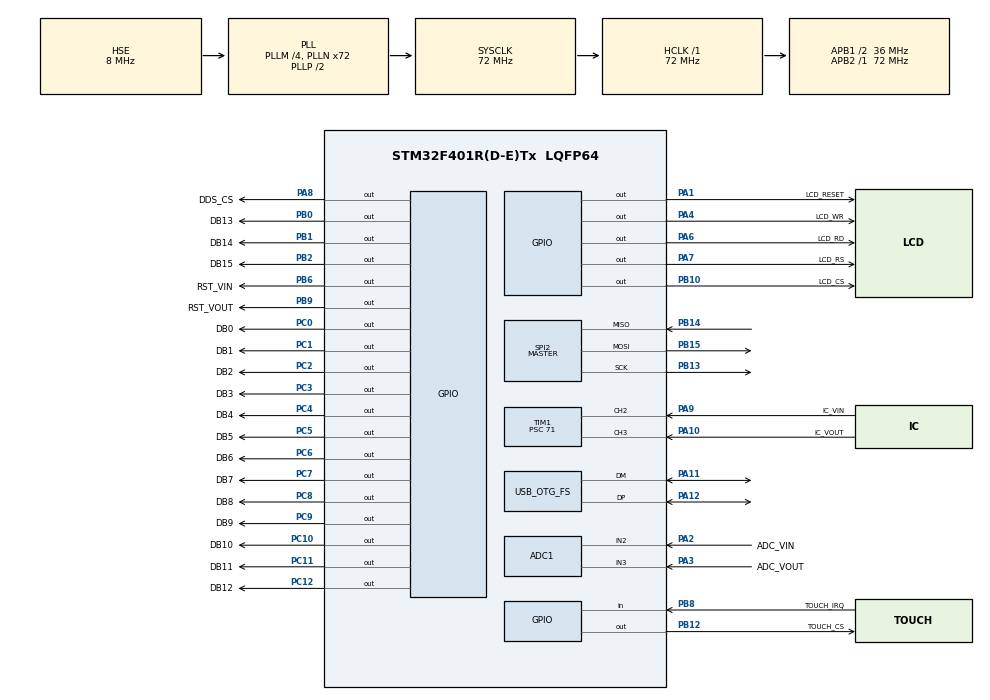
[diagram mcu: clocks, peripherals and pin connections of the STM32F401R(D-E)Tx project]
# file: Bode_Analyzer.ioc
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ADC1.Channel-0\#ChannelRegularConversion=ADC_CHANNEL_2
ADC1.Channel-1\#ChannelRegularConversion=ADC_CHANNEL_3
ADC1.ClockPrescaler=ADC_CLOCK_SYNC_PCLK_DIV4
ADC1.ContinuousConvMode=ENABLE
ADC1.DMAContinuousRequests=ENABLE
ADC1.EOCSelection=ADC_EOC_SEQ_CONV
ADC1.NbrOfConversion=2
ADC1.NbrOfConversionFlag=1
ADC1.Rank-0\#ChannelRegularConversion=1
ADC1.Rank-1\#ChannelRegularConversion=2
ADC1.SamplingTime-0\#ChannelRegularConversion=ADC_SAMPLETIME_480CYCLES
ADC1.SamplingTime-1\#ChannelRegularConversion=ADC_SAMPLETIME_480CYCLES
ADC1.master=1
Dma.ADC1.0.Direction=DMA_PERIPH_TO_MEMORY
Dma.ADC1.0.FIFOMode=DMA_FIFOMODE_DISABLE
Dma.ADC1.0.Instance=DMA2_Stream0
Dma.ADC1.0.MemDataAlignment=DMA_MDATAALIGN_WORD
Dma.ADC1.0.MemInc=DMA_MINC_ENABLE
Dma.ADC1.0.Mode=DMA_CIRCULAR
Dma.ADC1.0.PeriphDataAlignment=DMA_PDATAALIGN_WORD
Dma.ADC1.0.PeriphInc=DMA_PINC_DISABLE
Dma.ADC1.0.Priority=DMA_PRIORITY_LOW
Dma.Request0=ADC1
FREERTOS.Tasks01=defaultTask,0,2000,StartDefaultTask,Default,NULL,Dynamic,NULL,NULL
FREERTOS.configTOTAL_HEAP_SIZE=15000
Mcu.Family=STM32F4
Mcu.Name=STM32F401R(D-E)Tx
Mcu.Package=LQFP64
NVIC.ADC_IRQn=true\:7\:0\:true\:false\:true\:true\:true\:true\:true
NVIC.DMA2_Stream0_IRQn=true\:5\:0\:false\:false\:true\:true\:false\:true\:true
NVIC.OTG_FS_IRQn=true\:5\:0\:false\:false\:true\:true\:false\:true\:true
NVIC.PriorityGroup=NVIC_PRIORITYGROUP_4
NVIC.TIM1_CC_IRQn=true\:5\:0\:true\:false\:true\:true\:true\:true\:true
NVIC.TIM2_IRQn=true\:7\:0\:true\:false\:true\:true\:true\:true\:true
NVIC.TIM4_IRQn=true\:4\:0\:true\:false\:true\:false\:false\:true\:true
NVIC.TimeBase=TIM4_IRQn
NVIC.TimeBaseIP=TIM4
PA1.GPIO_Label=LCD_RESET
PA1.Signal=GPIO_Output
PA10.GPIO_Label=IC_VOUT
PA10.Signal=S_TIM1_CH3
PA11.Mode=Device_Only
PA11.Signal=USB_OTG_FS_DM
PA12.Mode=Device_Only
PA12.Signal=USB_OTG_FS_DP
PA13.GPIO_Label=TMS
PA13.Mode=Serial_Wire
PA13.Signal=SYS_JTMS-SWDIO
PA14.GPIO_Label=TCK
PA14.Mode=Serial_Wire
PA14.Signal=SYS_JTCK-SWCLK
PA2.GPIO_Label=ADC_VIN
PA2.Signal=ADCx_IN2
PA3.GPIO_Label=ADC_VOUT
PA3.Signal=ADCx_IN3
PA4.GPIO_Label=LCD_WR
PA4.Signal=GPIO_Output
PA6.GPIO_Label=LCD_RD
PA6.Signal=GPIO_Output
PA7.GPIO_Label=LCD_RS
PA7.Signal=GPIO_Output
PA8.GPIO_Label=DDS_CS
PA8.PinState=GPIO_PIN_SET
PA8.Signal=GPIO_Output
PA9.GPIO_Label=IC_VIN
PA9.Signal=S_TIM1_CH2
PB0.GPIO_Label=DB13
PB0.Signal=GPIO_Output
PB1.GPIO_Label=DB14
PB1.Signal=GPIO_Output
PB10.GPIO_Label=LCD_CS
PB10.PinState=GPIO_PIN_SET
PB10.Signal=GPIO_Output
PB12.GPIO_Label=TOUCH_CS
PB12.PinState=GPIO_PIN_SET
PB12.Signal=GPIO_Output
PB13.Mode=Full_Duplex_Master
PB13.Signal=SPI2_SCK
PB14.Mode=Full_Duplex_Master
PB14.Signal=SPI2_MISO
PB15.Mode=Full_Duplex_Master
PB15.Signal=SPI2_MOSI
PB2.GPIO_Label=DB15
PB2.Signal=GPIO_Output
PB3.Signal=SYS_JTDO-SWO
PB6.GPIO_Label=RST_VIN
PB6.GPIO_ModeDefaultOutputPP=GPIO_MODE_OUTPUT_PP
PB6.GPIO_PuPd=GPIO_NOPULL
PB6.GPIO_Speed=GPIO_SPEED_FREQ_LOW
PB6.PinState=GPIO_PIN_RESET
PB6.Signal=GPIO_Output
PB8.GPIO_Label=TOUCH_IRQ
PB8.GPIO_PuPd=GPIO_PULLUP
PB8.Signal=GPIO_Input
PB9.GPIO_Label=RST_VOUT
PB9.GPIO_ModeDefaultOutputPP=GPIO_MODE_OUTPUT_PP
PB9.GPIO_PuPd=GPIO_NOPULL
PB9.PinState=GPIO_PIN_RESET
PB9.Signal=GPIO_Output
PC0.GPIO_Label=DB0
PC0.Signal=GPIO_Output
PC1.GPIO_Label=DB1
PC1.Signal=GPIO_Output
PC10.GPIO_Label=DB10
PC10.Signal=GPIO_Output
PC11.GPIO_Label=DB11
PC11.Signal=GPIO_Output
PC12.GPIO_Label=DB12
PC12.Signal=GPIO_Output
PC14-OSC32_IN.Mode=LSE-External-Oscillator
PC14-OSC32_IN.Signal=RCC_OSC32_IN
PC15-OSC32_OUT.Mode=LSE-External-Oscillator
PC15-OSC32_OUT.Signal=RCC_OSC32_OUT
PC2.GPIO_Label=DB2
PC2.Signal=GPIO_Output
PC3.GPIO_Label=DB3
PC3.Signal=GPIO_Output
PC4.GPIO_Label=DB4
PC4.Signal=GPIO_Output
PC5.GPIO_Label=DB5
PC5.Signal=GPIO_Output
PC6.GPIO_Label=DB6
PC6.Signal=GPIO_Output
PC7.GPIO_Label=DB7
PC7.Signal=GPIO_Output
PC8.GPIO_Label=DB8
PC8.Signal=GPIO_Output
PC9.GPIO_Label=DB9
PC9.Signal=GPIO_Output
PH0\ -\ OSC_IN.Mode=HSE-External-Clock-Source
PH0\ -\ OSC_IN.Signal=RCC_OSC_IN
PH1\ -\ OSC_OUT.Mode=HSE-External-Clock-Source
PH1\ -\ OSC_OUT.Signal=RCC_OSC_OUT
ProjectManager.HeapSize=0x200
ProjectManager.StackSize=0x400
ProjectManager.TargetToolchain=STM32CubeIDE
RCC.48MHZClocksFreq_Value=48000000
RCC.AHBFreq_Value=72000000
RCC.APB1CLKDivider=RCC_HCLK_DIV2
RCC.APB1Freq_Value=36000000
RCC.APB1TimFreq_Value=72000000
RCC.APB2Freq_Value=72000000
RCC.APB2TimFreq_Value=72000000
RCC.CortexFreq_Value=72000000
RCC.HCLKFreq_Value=72000000
RCC.HSE_VALUE=8000000
RCC.HSI_VALUE=16000000
RCC.PLLM=4
RCC.PLLN=72
RCC.PLLQ=3
RCC.SYSCLKFreq_VALUE=72000000
RCC.SYSCLKSource=RCC_SYSCLKSOURCE_PLLCLK
RCC.VCOOutputFreq_Value=144000000
SH.ADCx_IN2.0=ADC1_IN2,IN2
SH.ADCx_IN3.0=ADC1_IN3,IN3
SH.S_TIM1_CH2.0=TIM1_CH2,Input_Capture2_from_TI2
SH.S_TIM1_CH3.0=TIM1_CH3,Input_Capture3_from_TI3
SPI2.BaudRatePrescaler=SPI_BAUDRATEPRESCALER_128
SPI2.CLKPhase=SPI_PHASE_1EDGE
SPI2.CLKPolarity=SPI_POLARITY_HIGH
SPI2.DataSize=SPI_DATASIZE_16BIT
SPI2.Direction=SPI_DIRECTION_2LINES
SPI2.Mode=SPI_MODE_MASTER
SPI2.VirtualType=VM_MASTER
STMicroelectronics.X-CUBE-TOUCHGFX.4.20.0.ApplicationCcGraphicsJjApplication=TouchGFXOoGenerator
STMicroelectronics.X-CUBE-TOUCHGFX.4.20.0.tgfx_block_size=1920
STMicroelectronics.X-CUBE-TOUCHGFX.4.20.0.tgfx_buffering_strategy=Partial
STMicroelectronics.X-CUBE-TOUCHGFX.4.20.0.tgfx_custom_height=240
STMicroelectronics.X-CUBE-TOUCHGFX.4.20.0.tgfx_custom_width=320
STMicroelectronics.X-CUBE-TOUCHGFX.4.20.0.tgfx_number_of_blocks=3
STMicroelectronics.X-CUBE-TOUCHGFX.4.20.0.tgfx_oswrapper=CMSIS V1
STMicroelectronics.X-CUBE-TOUCHGFX.4.20.0.tgfx_pixel_format=RGB565\:16
STMicroelectronics.X-CUBE-TOUCHGFX.4.20.0_IsPackSelfContextualization=true
TIM1.Channel-Input_Capture2_from_TI2=TIM_CHANNEL_2
TIM1.Channel-Input_Capture3_from_TI3=TIM_CHANNEL_3
TIM1.ClockDivision=TIM_CLOCKDIVISION_DIV1
TIM1.ICFilter_CH2=0
TIM1.ICFilter_CH3=0
TIM1.ICPrescaler-Input_Capture2_from_TI2=TIM_ICPSC_DIV1
TIM1.ICPrescaler-Input_Capture3_from_TI3=TIM_ICPSC_DIV1
TIM1.Prescaler=71
TIM2.Period=30
TIM2.Prescaler=8399
USB_DEVICE.CLASS_NAME_FS=CUSTOM_HID
USB_DEVICE.CUSTOM_HID_FS_BINTERVAL=0xA
USB_DEVICE.PRODUCT_STRING_CUSTOMHID_FS=Bode Analyzer 1.0
USB_DEVICE.VirtualMode-CUSTOM_HID_FS=CustomHid
USB_DEVICE.VirtualModeFS=Custom_Hid_FS
USB_OTG_FS.VirtualMode=Device_Only
VP_CRC_VS_CRC.Mode=CRC_Activate
VP_FREERTOS_VS_CMSIS_V1.Mode=CMSIS_V1
VP_STMicroelectronics.X-CUBE-TOUCHGFX_VS_GraphicsJjApplication_4.20.0.Mode=GraphicsJjApplication
VP_SYS_VS_tim4.Mode=TIM4
VP_TIM1_VS_ClockSourceINT.Mode=Internal
VP_TIM2_VS_ClockSourceINT.Mode=Internal
VP_USB_DEVICE_VS_USB_DEVICE_CUSTOM_HID_FS.Mode=CUSTOM_HID_FS
board=NUCLEO-F401RE

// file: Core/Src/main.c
/* USER CODE BEGIN Header */
/**
  ******************************************************************************
  * @file           : main.c
  * @brief          : Main program body
  ******************************************************************************
  * @attention
  *
  * Copyright (c) 2022 STMicroelectronics.
  * All rights reserved.
  *
  * This software is licensed under terms that can be found in the LICENSE file
  * in the root directory of this software component.
  * If no LICENSE file comes with this software, it is provided AS-IS.
  *
  ******************************************************************************
  */
/* USER CODE END Header */
#include "main.h"
#include "cmsis_os.h"
#include "app_touchgfx.h"
#include "usb_device.h"

/* USER CODE BEGIN Includes */
#include "transferenciaADC_calibrado.h"
#include "timer_calibrado.h"

#include "ILI9341.h"
#include "AD9833.h"
#include "Touch.h"
#include <math.h>

#include "usbd_customhid.h"

#include "stdlib.h"
/* USER CODE END Includes */

ADC_HandleTypeDef hadc1;
DMA_HandleTypeDef hdma_adc1;

CRC_HandleTypeDef hcrc;

SPI_HandleTypeDef hspi2;

TIM_HandleTypeDef htim1;
TIM_HandleTypeDef htim2;

/* USER CODE BEGIN PV */
float freq[MAX_FREQ_POINTS];

float mag[MAX_FREQ_POINTS];

float phase[MAX_FREQ_POINTS];

uint8_t touchEnabled;
unsigned char data_ready;
unsigned int total_points;
int progress;

//Vector DMA para ADC
uint32_t ADC_buffer_DMA[MOD_SAMPLES];	//Solo una muestra de entrada y salida

//Variables globales para medicion con IC
uint16_t IC_in;
uint16_t IC_out;
uint8_t medicion_realizada;

//Variable global para handler de usb
extern USBD_HandleTypeDef hUsbDeviceFS;

//FreeRTOS
SemaphoreHandle_t sem_measure;

SemaphoreHandle_t sem_mod;
SemaphoreHandle_t sem_ADC;

SemaphoreHandle_t sem_phase;
SemaphoreHandle_t sem_IC;

SemaphoreHandle_t sem_USB;

QueueHandle_t queue_mod;

QueueHandle_t queue_freq_phase;
QueueHandle_t queue_phase;

QueueHandle_t queue_IC;

QueueHandle_t queue_USB_MOD;
QueueHandle_t queue_USB_PHASE;

QueueHandle_t queue_hab_phase;
/* USER CODE END PV */

void SystemClock_Config(void);
static void MX_GPIO_Init(void);
static void MX_DMA_Init(void);
static void MX_ADC1_Init(void);
static void MX_SPI2_Init(void);
static void MX_CRC_Init(void);
static void MX_TIM1_Init(void);
static void MX_TIM2_Init(void);

/* USER CODE BEGIN PFP */
void SPI_ChangeParameters(SPI_HandleTypeDef* hspi, uint32_t dataSize, uint32_t clkPolarity);
void TIM_ConfigPrescaler(uint32_t prescaler);

float ADCLinearInterpolation(uint32_t codigoADC);
float TimerLinearInterpolation_us(float mcuTime);

extern void touchgfxSignalVSync(void);
//FreeRTOS
void StartHardwareTask(void *pvParameters);

void MeasureTask(void *pvParameters);
void ModuleTask(void *pvParameters);
void PhaseTask(void *pvParameters);

void USBTask(void *pvParameters);
/* USER CODE END PFP */

int main(void)
{

  /* MCU Configuration--------------------------------------------------------*/

  /* Reset of all peripherals, Initializes the Flash interface and the Systick. */
  HAL_Init();

  /* Configure the system clock */
  SystemClock_Config();

  /* Initialize all configured peripherals */
  MX_GPIO_Init();
  MX_DMA_Init();
  MX_ADC1_Init();
  MX_SPI2_Init();
  MX_CRC_Init();
  MX_TIM1_Init();
  MX_TIM2_Init();
  MX_TouchGFX_Init();
  /* Call PreOsInit function */
  MX_TouchGFX_PreOSInit();
  /* USER CODE BEGIN 2 */

  LCD_Init();

  AD9833_Init();

  AD9833_SetEnabled(TRUE);

  HAL_Delay(5000);

  //Reconfiguro polaridad de clock a la que necesita el touch
  SPI_ChangeParameters(&hspi2, SPI_DATASIZE_8BIT, SPI_POLARITY_LOW);
  touchEnabled = 1;
  /* USER CODE END 2 */

  /* USER CODE BEGIN RTOS_SEMAPHORES */
  /* add semaphores, ... */
  sem_measure = xSemaphoreCreateBinary();

  sem_mod = xSemaphoreCreateBinary();
  sem_ADC = xSemaphoreCreateBinary();

  sem_phase = xSemaphoreCreateBinary();
  sem_IC = xSemaphoreCreateBinary();

  sem_USB = xSemaphoreCreateBinary();

  xSemaphoreTake(sem_measure, 0);

  xSemaphoreTake(sem_mod, 0);
  xSemaphoreTake(sem_ADC, 0);

  xSemaphoreTake(sem_phase, 0);
  xSemaphoreTake(sem_IC, 0);

  xSemaphoreTake(sem_USB, 0);
  /* USER CODE END RTOS_SEMAPHORES */

  /* USER CODE BEGIN RTOS_QUEUES */
  /* add queues, ... */
  queue_mod = xQueueCreate(1, sizeof(float));
  queue_phase = xQueueCreate(1, sizeof(float));

  queue_freq_phase = xQueueCreate(1, sizeof(uint16_t));
  queue_IC = xQueueCreate(2, sizeof(uint16_t));

  queue_USB_MOD = xQueueCreate(MOD_SAMPLES, sizeof(float));
  queue_USB_PHASE = xQueueCreate(PHASE_SAMPLES, sizeof(float));

  queue_hab_phase = xQueueCreate(1, sizeof(uint8_t));

  /* USER CODE END RTOS_QUEUES */

  /* Create the thread(s) */
  /* definition and creation of defaultTask */

  /* USER CODE BEGIN RTOS_THREADS */
  /* add threads, ... */
  xTaskCreate(StartHardwareTask, "HW_init", 1500, NULL, tskIDLE_PRIORITY+1, NULL);
  xTaskCreate(MeasureTask, "Measure", configMINIMAL_STACK_SIZE, NULL, tskIDLE_PRIORITY+1, NULL);
  xTaskCreate(ModuleTask, "Module", configMINIMAL_STACK_SIZE, NULL, tskIDLE_PRIORITY+1, NULL);
  xTaskCreate(PhaseTask, "Phase", configMINIMAL_STACK_SIZE, NULL, tskIDLE_PRIORITY+1, NULL);
  xTaskCreate(USBTask, "USB", configMINIMAL_STACK_SIZE, NULL, tskIDLE_PRIORITY+1, NULL);
  /* USER CODE END RTOS_THREADS */

  /* USER CODE BEGIN WHILE */

  vTaskStartScheduler();
  while (1)
  {
    /* USER CODE END WHILE */

  }
}

void SystemClock_Config(void)
{
  RCC_OscInitTypeDef RCC_OscInitStruct = {0};
  RCC_ClkInitTypeDef RCC_ClkInitStruct = {0};

  /** Configure the main internal regulator output voltage
  */
  __HAL_RCC_PWR_CLK_ENABLE();
  __HAL_PWR_VOLTAGESCALING_CONFIG(PWR_REGULATOR_VOLTAGE_SCALE2);

  /** Initializes the RCC Oscillators according to the specified parameters
  * in the RCC_OscInitTypeDef structure.
  */
  RCC_OscInitStruct.OscillatorType = RCC_OSCILLATORTYPE_HSE;
  RCC_OscInitStruct.HSEState = RCC_HSE_BYPASS;
  RCC_OscInitStruct.PLL.PLLState = RCC_PLL_ON;
  RCC_OscInitStruct.PLL.PLLSource = RCC_PLLSOURCE_HSE;
  RCC_OscInitStruct.PLL.PLLM = 4;
  RCC_OscInitStruct.PLL.PLLN = 72;
  RCC_OscInitStruct.PLL.PLLP = RCC_PLLP_DIV2;
  RCC_OscInitStruct.PLL.PLLQ = 3;
  if (HAL_RCC_OscConfig(&RCC_OscInitStruct) != HAL_OK)
  {
    Error_Handler();
  }

  /** Initializes the CPU, AHB and APB buses clocks
  */
  RCC_ClkInitStruct.ClockType = RCC_CLOCKTYPE_HCLK|RCC_CLOCKTYPE_SYSCLK
                              |RCC_CLOCKTYPE_PCLK1|RCC_CLOCKTYPE_PCLK2;
  RCC_ClkInitStruct.SYSCLKSource = RCC_SYSCLKSOURCE_PLLCLK;
  RCC_ClkInitStruct.AHBCLKDivider = RCC_SYSCLK_DIV1;
  RCC_ClkInitStruct.APB1CLKDivider = RCC_HCLK_DIV2;
  RCC_ClkInitStruct.APB2CLKDivider = RCC_HCLK_DIV1;

  if (HAL_RCC_ClockConfig(&RCC_ClkInitStruct, FLASH_LATENCY_2) != HAL_OK)
  {
    Error_Handler();
  }
}

static void MX_ADC1_Init(void)
{

  ADC_ChannelConfTypeDef sConfig = {0};

  /** Configure the global features of the ADC (Clock, Resolution, Data Alignment and number of conversion)
  */
  hadc1.Instance = ADC1;
  hadc1.Init.ClockPrescaler = ADC_CLOCK_SYNC_PCLK_DIV4;
  hadc1.Init.Resolution = ADC_RESOLUTION_12B;
  hadc1.Init.ScanConvMode = ENABLE;
  hadc1.Init.ContinuousConvMode = ENABLE;
  hadc1.Init.DiscontinuousConvMode = DISABLE;
  hadc1.Init.ExternalTrigConvEdge = ADC_EXTERNALTRIGCONVEDGE_NONE;
  hadc1.Init.ExternalTrigConv = ADC_SOFTWARE_START;
  hadc1.Init.DataAlign = ADC_DATAALIGN_RIGHT;
  hadc1.Init.NbrOfConversion = 2;
  hadc1.Init.DMAContinuousRequests = ENABLE;
  hadc1.Init.EOCSelection = ADC_EOC_SEQ_CONV;
  if (HAL_ADC_Init(&hadc1) != HAL_OK)
  {
    Error_Handler();
  }

  /** Configure for the selected ADC regular channel its corresponding rank in the sequencer and its sample time.
  */
  sConfig.Channel = ADC_CHANNEL_2;
  sConfig.Rank = 1;
  sConfig.SamplingTime = ADC_SAMPLETIME_480CYCLES;
  if (HAL_ADC_ConfigChannel(&hadc1, &sConfig) != HAL_OK)
  {
    Error_Handler();
  }

  /** Configure for the selected ADC regular channel its corresponding rank in the sequencer and its sample time.
  */
  sConfig.Channel = ADC_CHANNEL_3;
  sConfig.Rank = 2;
  if (HAL_ADC_ConfigChannel(&hadc1, &sConfig) != HAL_OK)
  {
    Error_Handler();
  }

}

static void MX_CRC_Init(void)
{

  hcrc.Instance = CRC;
  if (HAL_CRC_Init(&hcrc) != HAL_OK)
  {
    Error_Handler();
  }

}

static void MX_SPI2_Init(void)
{

  /* SPI2 parameter configuration*/
  hspi2.Instance = SPI2;
  hspi2.Init.Mode = SPI_MODE_MASTER;
  hspi2.Init.Direction = SPI_DIRECTION_2LINES;
  hspi2.Init.DataSize = SPI_DATASIZE_16BIT;
  hspi2.Init.CLKPolarity = SPI_POLARITY_HIGH;
  hspi2.Init.CLKPhase = SPI_PHASE_1EDGE;
  hspi2.Init.NSS = SPI_NSS_SOFT;
  hspi2.Init.BaudRatePrescaler = SPI_BAUDRATEPRESCALER_128;
  hspi2.Init.FirstBit = SPI_FIRSTBIT_MSB;
  hspi2.Init.TIMode = SPI_TIMODE_DISABLE;
  hspi2.Init.CRCCalculation = SPI_CRCCALCULATION_DISABLE;
  hspi2.Init.CRCPolynomial = 10;
  if (HAL_SPI_Init(&hspi2) != HAL_OK)
  {
    Error_Handler();
  }

}

static void MX_TIM1_Init(void)
{

  TIM_ClockConfigTypeDef sClockSourceConfig = {0};
  TIM_MasterConfigTypeDef sMasterConfig = {0};
  TIM_IC_InitTypeDef sConfigIC = {0};

  htim1.Instance = TIM1;
  htim1.Init.Prescaler = 71;
  htim1.Init.CounterMode = TIM_COUNTERMODE_UP;
  htim1.Init.Period = 65535;
  htim1.Init.ClockDivision = TIM_CLOCKDIVISION_DIV1;
  htim1.Init.RepetitionCounter = 0;
  htim1.Init.AutoReloadPreload = TIM_AUTORELOAD_PRELOAD_DISABLE;
  if (HAL_TIM_Base_Init(&htim1) != HAL_OK)
  {
    Error_Handler();
  }
  sClockSourceConfig.ClockSource = TIM_CLOCKSOURCE_INTERNAL;
  if (HAL_TIM_ConfigClockSource(&htim1, &sClockSourceConfig) != HAL_OK)
  {
    Error_Handler();
  }
  if (HAL_TIM_IC_Init(&htim1) != HAL_OK)
  {
    Error_Handler();
  }
  sMasterConfig.MasterOutputTrigger = TIM_TRGO_RESET;
  sMasterConfig.MasterSlaveMode = TIM_MASTERSLAVEMODE_DISABLE;
  if (HAL_TIMEx_MasterConfigSynchronization(&htim1, &sMasterConfig) != HAL_OK)
  {
    Error_Handler();
  }
  sConfigIC.ICPolarity = TIM_INPUTCHANNELPOLARITY_RISING;
  sConfigIC.ICSelection = TIM_ICSELECTION_DIRECTTI;
  sConfigIC.ICPrescaler = TIM_ICPSC_DIV1;
  sConfigIC.ICFilter = 0;
  if (HAL_TIM_IC_ConfigChannel(&htim1, &sConfigIC, TIM_CHANNEL_2) != HAL_OK)
  {
    Error_Handler();
  }
  if (HAL_TIM_IC_ConfigChannel(&htim1, &sConfigIC, TIM_CHANNEL_3) != HAL_OK)
  {
    Error_Handler();
  }

}

static void MX_TIM2_Init(void)
{

  TIM_ClockConfigTypeDef sClockSourceConfig = {0};
  TIM_MasterConfigTypeDef sMasterConfig = {0};

  htim2.Instance = TIM2;
  htim2.Init.Prescaler = 8399;
  htim2.Init.CounterMode = TIM_COUNTERMODE_UP;
  htim2.Init.Period = 30;
  htim2.Init.ClockDivision = TIM_CLOCKDIVISION_DIV1;
  htim2.Init.AutoReloadPreload = TIM_AUTORELOAD_PRELOAD_DISABLE;
  if (HAL_TIM_Base_Init(&htim2) != HAL_OK)
  {
    Error_Handler();
  }
  sClockSourceConfig.ClockSource = TIM_CLOCKSOURCE_INTERNAL;
  if (HAL_TIM_ConfigClockSource(&htim2, &sClockSourceConfig) != HAL_OK)
  {
    Error_Handler();
  }
  sMasterConfig.MasterOutputTrigger = TIM_TRGO_RESET;
  sMasterConfig.MasterSlaveMode = TIM_MASTERSLAVEMODE_DISABLE;
  if (HAL_TIMEx_MasterConfigSynchronization(&htim2, &sMasterConfig) != HAL_OK)
  {
    Error_Handler();
  }

}

static void MX_DMA_Init(void)
{

  /* DMA controller clock enable */
  __HAL_RCC_DMA2_CLK_ENABLE();

  /* DMA interrupt init */
  /* DMA2_Stream0_IRQn interrupt configuration */
  HAL_NVIC_SetPriority(DMA2_Stream0_IRQn, 5, 0);
  HAL_NVIC_EnableIRQ(DMA2_Stream0_IRQn);

}

static void MX_GPIO_Init(void)
{
  GPIO_InitTypeDef GPIO_InitStruct = {0};

  /* GPIO Ports Clock Enable */
  __HAL_RCC_GPIOC_CLK_ENABLE();
  __HAL_RCC_GPIOH_CLK_ENABLE();
  __HAL_RCC_GPIOA_CLK_ENABLE();
  __HAL_RCC_GPIOB_CLK_ENABLE();

  /*Configure GPIO pin Output Level */
  HAL_GPIO_WritePin(GPIOC, DB0_Pin|DB1_Pin|DB2_Pin|DB3_Pin
                          |DB4_Pin|DB5_Pin|DB6_Pin|DB7_Pin
                          |DB8_Pin|DB9_Pin|DB10_Pin|DB11_Pin
                          |DB12_Pin, GPIO_PIN_RESET);

  /*Configure GPIO pin Output Level */
  HAL_GPIO_WritePin(GPIOA, LCD_RESET_Pin|LCD_WR_Pin|LCD_RD_Pin|LCD_RS_Pin, GPIO_PIN_RESET);

  /*Configure GPIO pin Output Level */
  HAL_GPIO_WritePin(GPIOB, DB13_Pin|DB14_Pin|DB15_Pin|RST_VIN_Pin
                          |RST_VOUT_Pin, GPIO_PIN_RESET);

  /*Configure GPIO pin Output Level */
  HAL_GPIO_WritePin(GPIOB, LCD_CS_Pin|TOUCH_CS_Pin, GPIO_PIN_SET);

  /*Configure GPIO pin Output Level */
  HAL_GPIO_WritePin(DDS_CS_GPIO_Port, DDS_CS_Pin, GPIO_PIN_SET);

  /*Configure GPIO pins : DB0_Pin DB1_Pin DB2_Pin DB3_Pin
                           DB4_Pin DB5_Pin DB6_Pin DB7_Pin
                           DB8_Pin DB9_Pin DB10_Pin DB11_Pin
                           DB12_Pin */
  GPIO_InitStruct.Pin = DB0_Pin|DB1_Pin|DB2_Pin|DB3_Pin
                          |DB4_Pin|DB5_Pin|DB6_Pin|DB7_Pin
                          |DB8_Pin|DB9_Pin|DB10_Pin|DB11_Pin
                          |DB12_Pin;
  GPIO_InitStruct.Mode = GPIO_MODE_OUTPUT_PP;
  GPIO_InitStruct.Pull = GPIO_NOPULL;
  GPIO_InitStruct.Speed = GPIO_SPEED_FREQ_LOW;
  HAL_GPIO_Init(GPIOC, &GPIO_InitStruct);

  /*Configure GPIO pins : LCD_RESET_Pin LCD_WR_Pin LCD_RD_Pin LCD_RS_Pin
                           DDS_CS_Pin */
  GPIO_InitStruct.Pin = LCD_RESET_Pin|LCD_WR_Pin|LCD_RD_Pin|LCD_RS_Pin
                          |DDS_CS_Pin;
  GPIO_InitStruct.Mode = GPIO_MODE_OUTPUT_PP;
  GPIO_InitStruct.Pull = GPIO_NOPULL;
  GPIO_InitStruct.Speed = GPIO_SPEED_FREQ_LOW;
  HAL_GPIO_Init(GPIOA, &GPIO_InitStruct);

  /*Configure GPIO pins : DB13_Pin DB14_Pin DB15_Pin LCD_CS_Pin
                           TOUCH_CS_Pin RST_VIN_Pin RST_VOUT_Pin */
  GPIO_InitStruct.Pin = DB13_Pin|DB14_Pin|DB15_Pin|LCD_CS_Pin
                          |TOUCH_CS_Pin|RST_VIN_Pin|RST_VOUT_Pin;
  GPIO_InitStruct.Mode = GPIO_MODE_OUTPUT_PP;
  GPIO_InitStruct.Pull = GPIO_NOPULL;
  GPIO_InitStruct.Speed = GPIO_SPEED_FREQ_LOW;
  HAL_GPIO_Init(GPIOB, &GPIO_InitStruct);

  /*Configure GPIO pin : TOUCH_IRQ_Pin */
  GPIO_InitStruct.Pin = TOUCH_IRQ_Pin;
  GPIO_InitStruct.Mode = GPIO_MODE_INPUT;
  GPIO_InitStruct.Pull = GPIO_PULLUP;
  HAL_GPIO_Init(TOUCH_IRQ_GPIO_Port, &GPIO_InitStruct);

}

/* USER CODE BEGIN 4 */

void SPI_ChangeParameters(SPI_HandleTypeDef* hspi, uint32_t dataSize, uint32_t clkPolarity)
{
	__HAL_SPI_DISABLE(hspi);

	hspi->Init.DataSize = dataSize;
	hspi->Init.CLKPolarity = clkPolarity;

	if (HAL_SPI_Init(hspi) != HAL_OK)
	{
		Error_Handler();
	}
	/* Enable SPI peripheral so SPI phase and polarity are changed before SPI peripheral in selected (otherwise trouble!!!) */
	__HAL_SPI_ENABLE(hspi);
}

void TIM_ConfigPrescaler(uint32_t prescaler)
{
	htim1.Init.Prescaler = prescaler;
	if (HAL_TIM_Base_Init(&htim1) != HAL_OK)
	{
		Error_Handler();
	}

	TIM1->EGR = TIM_EGR_UG; //Genero un evento para cambiar el prescaler inmediatamente (sino se cambia al hacer overflow)
}

float ADCLinearInterpolation(uint32_t codigoADC)
{
	uint16_t index = 0;

	while(codigoADC > CODIGOS_ADC[index])	//Busco el código en la tabla obtenida en la calibracion
		index++;

	if (codigoADC == CODIGOS_ADC[index])	//Si el código está en la tabla, devuelvo la tensión correspondiente
		return TENSIONES_ADC[index];

	else	//Si es menor al codigo de la tabla, realizo una interpolacion lineal
		return (TENSIONES_ADC[index-1] * (CODIGOS_ADC[index]-codigoADC) + TENSIONES_ADC[index] * (codigoADC-CODIGOS_ADC[index-1])) / (CODIGOS_ADC[index] - CODIGOS_ADC[index-1]);
}

float TimerLinearInterpolation_us(float mcuTime)
{
	uint8_t index = 0;

	while(mcuTime > TIME_US_MCU[index])	//Busco el tiempo en la tabla obtenida en la calibracion
		index++;

	if (mcuTime == TIME_US_MCU[index])	//Si el tiempo está en la tabla, devuelvo el tiempo patrón (corregido) correspondiente
		return (float)TIME_US_PATRON[index];

	else	//Si es menor al tiempo de la tabla, realizo una interpolacion lineal
		return (float)(TIME_US_PATRON[index-1] * (TIME_US_MCU[index]-mcuTime) + TIME_US_PATRON[index] * (mcuTime-TIME_US_MCU[index-1])) / (float)(TIME_US_MCU[index] - TIME_US_MCU[index-1]);
}

void StartHardwareTask(void* pvParameters)
{
	/* init code for USB_DEVICE */
	MX_USB_DEVICE_Init();
	/* USER CODE BEGIN 5 */
	HAL_TIM_Base_Start_IT(&htim2);
	MX_TouchGFX_Process();
	while(1)
	{

	}
}

void MeasureTask(void* pvParameters)
{
	uint16_t i;
	uint8_t phase_medida;

	while(1)
	{
		xSemaphoreTake(sem_measure, portMAX_DELAY);

		USBD_CUSTOM_HID_SendReport(&hUsbDeviceFS,(uint8_t*)&total_points,sizeof(total_points)); //Envío la cantidad de puntos total

		vTaskDelay(pdMS_TO_TICKS(10));//Delay para evitar pérdida de paquetes

		USBD_CUSTOM_HID_SendReport(&hUsbDeviceFS,(uint8_t*)freq,total_points*4);	//Envío vector de frecuencias

		vTaskDelay(pdMS_TO_TICKS(100));

		//Reconfiguro el spi a lo que necesita el AD9833
		touchEnabled = 0;	//Deshabilito el touch (ver TouchGFX/target/STM32TouchController.cpp)
		SPI_ChangeParameters(&hspi2, SPI_DATASIZE_16BIT, SPI_POLARITY_HIGH);

		//Para cada punto de frecuencia
		for(i = 0; i< total_points; i++)
		{
			//Reseteo detectores de pico (descargo capacitores)
			HAL_GPIO_WritePin(RST_VIN_GPIO_Port, RST_VIN_Pin, GPIO_PIN_SET);
			HAL_GPIO_WritePin(RST_VOUT_GPIO_Port, RST_VOUT_Pin, GPIO_PIN_SET);

			//Cambio de frecuencia (frecuencia redondeada a entero por el momento)
			//Reescribo freq[i] con el valor que verdaderamente se genera (para realizar los calculos y graficar correctamente)
			freq[i] = AD9833_SetFrequency(freq[i]);

			vTaskDelay(pdMS_TO_TICKS(1));

			//Desactivo mosfets que descargan capacitores
			HAL_GPIO_WritePin(RST_VIN_GPIO_Port, RST_VIN_Pin, GPIO_PIN_RESET);
			HAL_GPIO_WritePin(RST_VOUT_GPIO_Port, RST_VOUT_Pin, GPIO_PIN_RESET);

			if(i>0)
				xSemaphoreGive(sem_USB);

			vTaskDelay(pdMS_TO_TICKS(1000));

			//libero tarea de MEDICION DE MAGNITUD:
			xSemaphoreGive(sem_mod);

			//Espero medicion de magnitud
			xQueueReceive(queue_mod, &mag[i], portMAX_DELAY);

			//libero tarea de MEDICION DE FASE:

			if(mag[i]>-30 && freq[i] < 20000)
			{
				xQueueSend(queue_freq_phase, &i, portMAX_DELAY);
				xQueueReceive(queue_phase, &phase[i], portMAX_DELAY);
				phase_medida = 1;
			}
			else if (i==0)
			{
				phase[i] = 0;
				phase_medida = 0;
			}

			else
			{
				phase[i] = phase[i-1];
				phase_medida = 0;
			}

			xQueueSend(queue_hab_phase, &phase_medida, portMAX_DELAY);	//Informo a taskUSB si se realizó la medicion de fase o no

			//Actualizo la barra de progreso (0% a 100%)
			progress = ((i+1)*100) / total_points;
		}
		xSemaphoreGive(sem_USB);
		//Reconfiguro el spi a lo que necesita el touch
		SPI_ChangeParameters(&hspi2, SPI_DATASIZE_8BIT, SPI_POLARITY_LOW);

		touchEnabled = 1; //Habilito touch

		data_ready = 1;
	}
}

void HAL_ADC_ConvCpltCallback(ADC_HandleTypeDef* hadc)
{
	static uint8_t mediciones = 0;

	BaseType_t xHigherPriorityTaskWoken = pdFALSE;

	mediciones++;

	if(mediciones == 10)
	{
		HAL_ADC_Stop_DMA(&hadc1);

		mediciones = 0;

		xSemaphoreGiveFromISR(sem_ADC, &xHigherPriorityTaskWoken );

		portYIELD_FROM_ISR( xHigherPriorityTaskWoken );
	}
}

void ModuleTask(void *pvParameters)
{
	float v_samples[MOD_SAMPLES];

	float v_in_acum = 0;
	float v_out_acum = 0;

	float mag;

	while(1)
	{
		xSemaphoreTake(sem_mod, portMAX_DELAY);

		//Realizo MOD_SAMPLES mediciones: mitad de entrada y mitad de salida separadas 54.67us entre sí

		HAL_ADC_Start_DMA(&hadc1, ADC_buffer_DMA, MOD_SAMPLES);

		xSemaphoreTake(sem_ADC, portMAX_DELAY);

		v_in_acum = 0;
		v_out_acum = 0;
		//Obtengo tensiones a partir de cuentas con transferencia calibrada de ADC (realizando interpolación lineal)
		for(uint8_t j=0; j<MOD_SAMPLES; j+=2)
		{
			v_samples[j] = ADCLinearInterpolation(ADC_buffer_DMA[j]);
			v_in_acum += v_samples[j];
			v_samples[j+1] = ADCLinearInterpolation(ADC_buffer_DMA[j+1]);
			v_out_acum += v_samples[j+1];
		}

		mag = 20*log10(v_out_acum/v_in_acum);

		for(uint8_t i=0; i<MOD_SAMPLES; i++)
			xQueueSend(queue_USB_MOD, &v_samples[i], portMAX_DELAY);

		xQueueSend(queue_mod, &mag, portMAX_DELAY);
	}
}

void HAL_TIM_IC_CaptureCallback(TIM_HandleTypeDef *htim)
{
	static uint8_t first_capture = 0;

	if(htim->Channel == HAL_TIM_ACTIVE_CHANNEL_2)
	{
		if(first_capture == 0 && medicion_realizada == 0)	//Primer flanco ascendente
		{
			HAL_TIM_IC_Stop_IT(&htim1, TIM_CHANNEL_2);
			IC_in = htim->Instance->CCR2;
			first_capture = 1;
		}
	}
	if(htim->Channel == HAL_TIM_ACTIVE_CHANNEL_3)
	{
		if(first_capture)	//Si ya se capturó el primer flanco en el canal 2
		{
			HAL_TIM_IC_Stop_IT(&htim1, TIM_CHANNEL_3);
			medicion_realizada = 1;
			IC_out = htim->Instance->CCR3;
			first_capture = 0;
		}
	}
}

void PhaseTask(void *pvParameters)
{
	float time_diff[PHASE_SAMPLES];

	uint16_t index;

	float phase_met1;	//Valor auxiliar correspondiente a metodo 1 de medicion de fase

	float phase_val;	//Vector con PHASE_SAMPLES muestras de frecuencia puntual

	float phase_val_acum = 0;	//acumulador para hacer el promedio

	while(1)
	{
		phase_val_acum = 0;
		xQueueReceive(queue_freq_phase, &index, portMAX_DELAY);

		//Calculo prescaler para que las cuentas del timer alcancen un período completo
		if(freq[index] < 15.259)
		{
			TIM_ConfigPrescaler(ceil((long double)FREQ_TIM1/(65535*freq[index]) - 1));
			vTaskDelay(pdMS_TO_TICKS(1));
		}
		else if(htim1.Init.Prescaler != 71)	//Prescaler mínimo de 71 para que el timer funcione correctamente
		{
			TIM_ConfigPrescaler(71);
			vTaskDelay(pdMS_TO_TICKS(1));
		}

		for(uint8_t i = 0; i<PHASE_SAMPLES; i++)
		{
			HAL_TIM_IC_Start_IT(&htim1, TIM_CHANNEL_2);
			HAL_TIM_IC_Start_IT(&htim1, TIM_CHANNEL_3);

			medicion_realizada = 0;	//Fuerzo a que vuelva a medir

			while(medicion_realizada == 0);

			if (IC_out >= IC_in)
				time_diff[i] = (float)(IC_out - IC_in) * (htim1.Init.Prescaler+1) / FREQ_TIM1;

			else if (IC_in > IC_out) //Entre IC_in e IC_out se llenó el registro de la cuenta
				time_diff[i] = (float)((65535 - IC_in) + IC_out) * (htim1.Init.Prescaler+1) / FREQ_TIM1;

			time_diff[i] = TimerLinearInterpolation_us(time_diff[i]*1000000)/1000000;

			//El metodo de medicion siempre es FaseOut - FaseIn (Método 1), luego
			//matematicamente lo pasamos a FaseIn - FaseOut (Método 2) de ser necesario:

			phase_met1 = -2*180*freq[index]*time_diff[i];	//fase en grados sexagecimales (Metodo 1)

			if(abs(phase_met1) > 360) //Detecto si hay ruido de comparador (no puede haber desfasaje mayor a 360)
				i--;

			else
			{
				if(phase_met1 < -180)	//Hay que pasar al metodo 2
					phase_val = phase_met1 + 360;

				else
					phase_val = phase_met1; //Sigo con metodo 1

				phase_val_acum += phase_val;
			}
			medicion_realizada = 0;

		}
		phase_val_acum /= (float)PHASE_SAMPLES;

		for(uint8_t j = 0; j< PHASE_SAMPLES; j++)
			xQueueSend(queue_USB_PHASE, &time_diff[j], portMAX_DELAY);

		xQueueSend(queue_phase, &phase_val_acum, portMAX_DELAY);
	}
}

void USBTask(void *pvParameters)
{
	uint8_t phase_medida;

	float v_samples[MOD_SAMPLES];
	float time_diff[PHASE_SAMPLES];

	while(1)
	{
		for(uint8_t i=0; i< MOD_SAMPLES; i++)
			xQueueReceive(queue_USB_MOD, &v_samples[i], portMAX_DELAY);

		xQueueReceive(queue_hab_phase, &phase_medida, portMAX_DELAY);

		if(phase_medida)	//Si se realizó la medición de fase obtengo los valores, sino se mantienen
		{
			for(uint8_t i=0; i< PHASE_SAMPLES; i++)
				xQueueReceive(queue_USB_PHASE, &time_diff[i], portMAX_DELAY);
		}

		xSemaphoreTake(sem_USB, portMAX_DELAY);

		USBD_CUSTOM_HID_SendReport(&hUsbDeviceFS,(uint8_t*)v_samples,MOD_SAMPLES * 4);	//Envío vector con muestras de tensiones

		vTaskDelay(pdMS_TO_TICKS(500));	//Delay para evitar pérdida de paquetes

		if(phase_medida)
			USBD_CUSTOM_HID_SendReport(&hUsbDeviceFS,(uint8_t*)time_diff,PHASE_SAMPLES * 4);	//Envío vector con desfasajes temporales
		else
		{
			time_diff[0] = 0;
			USBD_CUSTOM_HID_SendReport(&hUsbDeviceFS,(uint8_t*)time_diff,1);	//Informo que no se realizó medición de fase a la PC
		}
	}
}

/* USER CODE END 4 */

void HAL_TIM_PeriodElapsedCallback(TIM_HandleTypeDef *htim)
{
  /* USER CODE BEGIN Callback 0 */
  if (htim->Instance == TIM2)
	  touchgfxSignalVSync();

  /* USER CODE END Callback 0 */
  if (htim->Instance == TIM4) {
    HAL_IncTick();
  }
}

void Error_Handler(void)
{
  __disable_irq();
  while (1)
  {
  }
}
